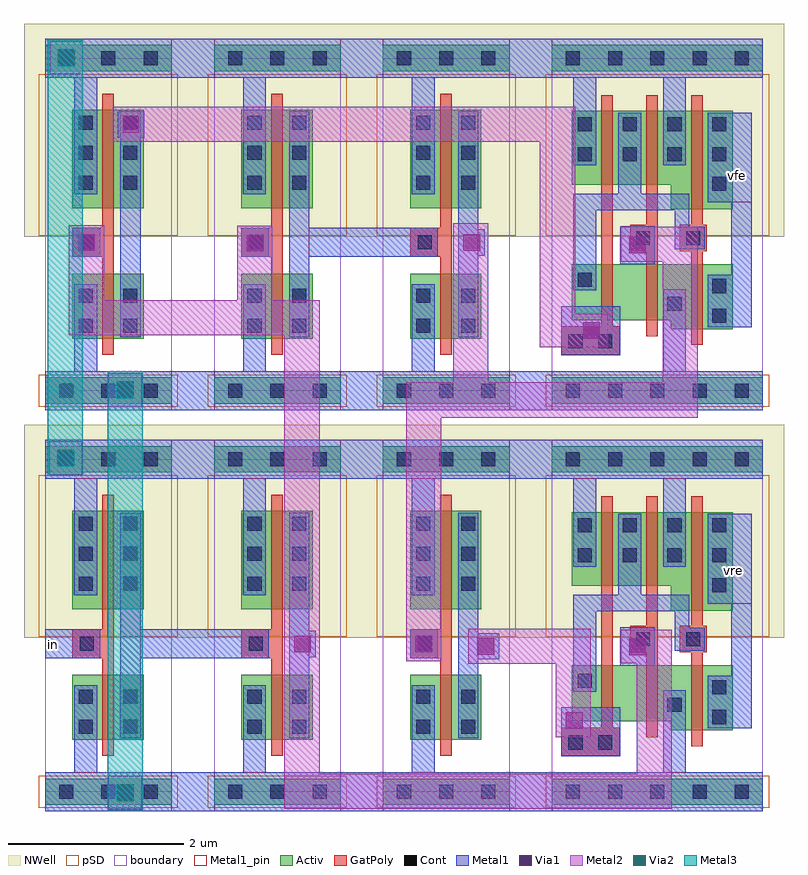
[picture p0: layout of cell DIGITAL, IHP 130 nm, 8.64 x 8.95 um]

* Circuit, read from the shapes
.subckt DIGITAL VDD VSS in vfe vre
XM1 sg13g2_inv_1_0_1/A in VSS VSS sg13_lv_nmos w=0.74u l=0.13u
XM2 sg13g2_and2_1_1_1/A sg13g2_inv_1_0_3/A VSS VSS sg13_lv_nmos w=0.74u l=0.13u
XM3 sg13g2_inv_1_0_3/A sg13g2_inv_1_0_1/A VSS VSS sg13_lv_nmos w=0.74u l=0.13u
XM4 sg13g2_inv_1_0_5/A sg13g2_inv_1_0_3/A VSS VSS sg13_lv_nmos w=0.74u l=0.13u
XM5 sg13g2_and2_1_1_0/A sg13g2_inv_1_0_2/A VSS VSS sg13_lv_nmos w=0.74u l=0.13u
XM6 sg13g2_inv_1_0_2/A sg13g2_inv_1_0_5/A VSS VSS sg13_lv_nmos w=0.74u l=0.13u
XM7 n1 sg13g2_and2_1_1_0/A n2 VSS sg13_lv_nmos w=0.64u l=0.13u
XM8 n3 sg13g2_and2_1_1_1/A n4 VSS sg13_lv_nmos w=0.64u l=0.13u
XM9 VSS sg13g2_inv_1_0_3/A n1 VSS sg13_lv_nmos w=0.64u l=0.13u
XM10 VSS sg13g2_inv_1_0_2/A n3 VSS sg13_lv_nmos w=0.64u l=0.13u
XM11 vre n2 VSS VSS sg13_lv_nmos w=0.74u l=0.13u
XM12 vfe n4 VSS VSS sg13_lv_nmos w=0.74u l=0.13u
XM13 sg13g2_inv_1_0_1/A in VDD VDD sg13_lv_pmos w=1.12u l=0.13u
XM14 sg13g2_and2_1_1_1/A sg13g2_inv_1_0_3/A VDD VDD sg13_lv_pmos w=1.12u l=0.13u
XM15 sg13g2_inv_1_0_3/A sg13g2_inv_1_0_1/A VDD VDD sg13_lv_pmos w=1.12u l=0.13u
XM16 sg13g2_inv_1_0_5/A sg13g2_inv_1_0_3/A VDD VDD sg13_lv_pmos w=1.12u l=0.13u
XM17 sg13g2_and2_1_1_0/A sg13g2_inv_1_0_2/A VDD VDD sg13_lv_pmos w=1.12u l=0.13u
XM18 sg13g2_inv_1_0_2/A sg13g2_inv_1_0_5/A VDD VDD sg13_lv_pmos w=1.12u l=0.13u
XM19 n2 sg13g2_and2_1_1_0/A VDD VDD sg13_lv_pmos w=0.84u l=0.13u
XM20 n4 sg13g2_and2_1_1_1/A VDD VDD sg13_lv_pmos w=0.84u l=0.13u
XM21 VDD sg13g2_inv_1_0_3/A n2 VDD sg13_lv_pmos w=0.84u l=0.13u
XM22 VDD sg13g2_inv_1_0_2/A n4 VDD sg13_lv_pmos w=0.84u l=0.13u
XM23 vre n2 VDD VDD sg13_lv_pmos w=1.12u l=0.13u
XM24 vfe n4 VDD VDD sg13_lv_pmos w=1.12u l=0.13u
.ends

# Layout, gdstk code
from math import pi, radians
import gdstk
lib = gdstk.Library(unit=1e-6, precision=1e-09)
def R(c, l, rs):  # rectangles x0, y0, x1, y1
    for r in rs: c.add(gdstk.rectangle(r[:2], r[2:], *l))
def A(c, l, x, y, w, h, nx, ny, dx, dy):  # array of equal rectangles
    R(c, l, [(x+i*dx, y+j*dy, x+i*dx+w, y+j*dy+h) for i in range(nx) for j in range(ny)])
def P(c, l, *ps):  # polygons
    for p in ps: c.add(gdstk.Polygon(p, *l))
Activ = (1, 0)
GatPoly = (5, 0)
Cont = (6, 0)
Metal1 = (8, 0)
Metal1_pin = (8, 2)
Metal2 = (10, 0)
pSD = (14, 0)
Via1 = (19, 0)
Via2 = (29, 0)
Metal3 = (30, 0)
NWell = (31, 0)
boundary = (189, 4)

sg13g2_inv_1 = lib.new_cell('sg13g2_inv_1')
R(sg13g2_inv_1, Activ, [(0,-0.15,1.44,0.15), (0.31,0.59,1.12,1.33), (0.31,2.075,1.12,3.195), (0,3.63,1.44,3.93)])
P(sg13g2_inv_1, GatPoly, [(0.65,0.41),(0.65,1.52),(0.31,1.52),(0.31,1.85),(0.65,1.85),(0.65,3.375),(0.78,3.375),(0.78,0.41)])
A(sg13g2_inv_1, Cont, 0.38, 2.285, 0.16, 0.16, 1, 3, 0, 0.34)
A(sg13g2_inv_1, Cont, 0.89, 2.285, 0.16, 0.16, 1, 3, 0, 0.34)
R(sg13g2_inv_1, Cont, [(0.16,-0.08,0.32,0.08), (0.16,-0.08,0.32,0.08), (0.64,-0.08,0.8,0.08), (0.64,-0.08,0.8,0.08), (1.12,-0.08,1.28,0.08), (1.12,-0.08,1.28,0.08), (0.38,0.66,0.54,0.82), (0.89,0.66,1.05,0.82), (0.38,1,0.54,1.16), (0.89,1,1.05,1.16), (0.395,1.605,0.555,1.765), (0.16,3.7,0.32,3.86), (0.16,3.7,0.32,3.86), (0.64,3.7,0.8,3.86), (0.64,3.7,0.8,3.86), (1.12,3.7,1.28,3.86), (1.12,3.7,1.28,3.86)])
R(sg13g2_inv_1, Metal1, [(0.855,0.61,1.085,3.175), (0.31,1.52,0.625,1.85)])
P(sg13g2_inv_1, Metal1, [(0.33,2.235),(0.33,3.56),(0,3.56),(0,4),(1.44,4),(1.44,3.56),(0.59,3.56),(0.59,2.235)],
  [(0,-0.22),(0,0.22),(0.33,0.22),(0.33,1.21),(0.59,1.21),(0.59,0.22),(1.44,0.22),(1.44,-0.22)])
R(sg13g2_inv_1, Metal1_pin, [(0,-0.22,1.44,0.22), (0.855,0.61,1.085,3.175), (0.31,1.52,0.625,1.85), (0,3.56,1.44,4)])
R(sg13g2_inv_1, pSD, [(-0.07,-0.18,1.51,0.18), (-0.07,1.76,1.51,3.6)])
R(sg13g2_inv_1, NWell, [(-0.24,1.75,1.68,4.17)])
R(sg13g2_inv_1, boundary, [(0,0,1.44,3.78)])
sg13g2_inv_1.add(gdstk.Label('Y', (0.98,1.69), layer=8, texttype=25))
sg13g2_inv_1.add(gdstk.Label('A', (0.48,1.68), layer=8, texttype=25))
sg13g2_inv_1.add(gdstk.Label('VSS', (0.72,-0.02), layer=8, texttype=25))
sg13g2_inv_1.add(gdstk.Label('VDD', (0.705,3.78), layer=8, texttype=25))

sg13g2_and2_1 = lib.new_cell('sg13g2_and2_1')
R(sg13g2_and2_1, Activ, [(0,-0.15,2.4,0.15), (0,3.63,2.4,3.93)])
P(sg13g2_and2_1, Activ, [(1.355,0.7),(1.355,0.8),(0.225,0.8),(0.225,1.44),(2.055,1.44),(2.055,0.7)],
  [(1.355,2.06),(1.355,2.34),(0.225,2.34),(0.225,3.18),(2.055,3.18),(2.055,2.06)])
P(sg13g2_and2_1, GatPoly, [(1.585,0.52),(1.585,1.585),(1.455,1.585),(1.455,1.885),(1.585,1.885),(1.585,3.36),(1.715,3.36),(1.715,1.885),(1.76,1.885),(1.76,1.585),(1.715,1.585),(1.715,0.52)],
  [(0.105,0.41),(0.105,0.73),(0.565,0.73),(0.565,3.36),(0.695,3.36),(0.695,0.73),(0.775,0.73),(0.775,0.41)],
  [(1.075,0.62),(1.075,1.585),(0.89,1.585),(0.89,1.885),(1.075,1.885),(1.075,3.36),(1.205,3.36),(1.205,0.62)])
A(sg13g2_and2_1, Cont, 0.16, -0.08, 0.16, 0.16, 5, 1, 0.48, 0)
A(sg13g2_and2_1, Cont, 0.295, 2.61, 0.16, 0.16, 4, 2, 0.51, 0.34)
R(sg13g2_and2_1, Cont, [(0.19,0.48,0.35,0.64), (0.53,0.48,0.69,0.64), (1.825,0.77,1.985,0.93), (1.315,0.91,1.475,1.07), (1.825,1.11,1.985,1.27), (0.295,1.18,0.455,1.34), (0.96,1.655,1.12,1.815), (1.53,1.655,1.69,1.815), (1.825,2.27,1.985,2.43), (0.16,3.7,0.32,3.86), (0.16,3.7,0.32,3.86), (0.16,3.7,0.32,3.86), (0.64,3.7,0.8,3.86), (0.64,3.7,0.8,3.86), (1.12,3.7,1.28,3.86), (1.12,3.7,1.28,3.86), (1.6,3.7,1.76,3.86), (1.6,3.7,1.76,3.86), (2.08,3.7,2.24,3.86), (2.08,3.7,2.24,3.86)])
R(sg13g2_and2_1, Metal1, [(0.105,0.405,0.78,0.96), (0.78,1.435,1.17,1.87)])
P(sg13g2_and2_1, Metal1, [(0.245,1.14),(0.245,2.24),(0.755,2.24),(0.755,3.16),(1.015,3.16),(1.015,2.24),(1.56,2.24),(1.56,1.865),(1.74,1.865),(1.74,1.605),(1.4,1.605),(1.4,2.05),(0.505,2.05),(0.505,1.14)],
  [(1.775,0.72),(1.775,1.32),(2.04,1.32),(2.04,2.14),(1.775,2.14),(1.775,3.16),(2.275,3.16),(2.275,0.72)],
  [(0.245,2.56),(0.245,3.56),(0,3.56),(0,4),(2.4,4),(2.4,3.56),(1.525,3.56),(1.525,2.56),(1.265,2.56),(1.265,3.56),(0.505,3.56),(0.505,2.56)],
  [(0,-0.22),(0,0.22),(1.265,0.22),(1.265,1.155),(1.525,1.155),(1.525,0.22),(2.4,0.22),(2.4,-0.22)])
R(sg13g2_and2_1, Metal1_pin, [(0,-0.22,2.4,0.22), (0.105,0.405,0.78,0.96), (0.78,1.435,1.17,1.87), (1.775,2.14,2.275,3.16), (0,3.56,2.4,4)])
R(sg13g2_and2_1, pSD, [(-0.07,-0.18,2.47,0.18), (-0.07,1.76,0.55,3.6), (-0.07,1.76,2.47,3.6)])
R(sg13g2_and2_1, NWell, [(-0.24,1.75,2.64,4.17)])
R(sg13g2_and2_1, boundary, [(0,0,2.4,3.78)])
sg13g2_and2_1.add(gdstk.Label('X', (1.995,2.68), layer=8, texttype=25))
sg13g2_and2_1.add(gdstk.Label('VSS', (1.18,0), layer=8, texttype=25))
sg13g2_and2_1.add(gdstk.Label('VDD', (1.275,3.78), layer=8, texttype=25))
sg13g2_and2_1.add(gdstk.Label('B', (0.98,1.655), layer=8, texttype=25))
sg13g2_and2_1.add(gdstk.Label('A', (0.465,0.745), layer=8, texttype=25))

m1_m3 = lib.new_cell('M1_M3')
R(m1_m3, Metal1, [(-0.15,-0.15,0.15,0.15)])
R(m1_m3, Metal2, [(-0.19,-0.19,0.19,0.19)])
R(m1_m3, Via1, [(-0.095,-0.095,0.095,0.095)])
R(m1_m3, Via2, [(-0.095,-0.095,0.095,0.095)])
R(m1_m3, Metal3, [(-0.19,-0.19,0.19,0.19)])

m1_m2 = lib.new_cell('M1_M2')
R(m1_m2, Metal1, [(-0.15,-0.15,0.15,0.15)])
R(m1_m2, Metal2, [(-0.19,-0.19,0.19,0.19)])
R(m1_m2, Via1, [(-0.095,-0.095,0.095,0.095)])

digital = lib.new_cell('DIGITAL')
R(digital, Metal1, [(0.14,-1.32,5.235,-0.88), (-0.945,0.42,-0.605,0.75), (-0.005,0.42,1.6,0.75), (0.375,2.46,5.71,2.9), (0.065,3.24,5.57,3.68), (1.97,4.98,3.275,5.31), (0.205,7.02,5.71,7.46)])
digital.add(gdstk.FlexPath([(1.975,0.565),(1.975,4.29),(-0.475,4.29),(-0.475,5.14)], 0.4, ends="extended", simple_path=True, layer=10, datatype=0))  # Metal2
digital.add(gdstk.FlexPath([(1.44,4.29),(1.44,5.135)], 0.4, ends="extended", simple_path=True, layer=10, datatype=0))  # Metal2
digital.add(gdstk.FlexPath([(4.065,0.555),(5.06,0.555),(5.06,-0.28),(5.06,-0.28),(5.06,-0.28)], 0.4, ends="extended", simple_path=True, layer=10, datatype=0))  # Metal2
digital.add(gdstk.FlexPath([(0.025,6.49),(4.88,6.49),(4.88,4.155)], 0.4, ends="extended", simple_path=True, layer=10, datatype=0))  # Metal2
digital.add(gdstk.FlexPath([(3.895,5.165),(3.895,3.355),(3.36,3.355),(3.36,0.585),(3.36,0.585),(3.36,0.585)], 0.4, ends="extended", simple_path=True, layer=10, datatype=0))  # Metal2
digital.add(gdstk.FlexPath([(3.865,3.355),(6.275,3.355),(6.275,5.125),(5.8,5.125)], 0.4, ends="extended", simple_path=True, layer=10, datatype=0))  # Metal2
digital.add(gdstk.FlexPath([(1.975,0.585),(1.975,-1.095),(5.98,-1.095),(5.98,0.54)], 0.4, ends="extended", simple_path=True, layer=10, datatype=0))  # Metal2
digital.add(gdstk.FlexPath([(-0.715,7.25),(-0.715,2.69),(-0.715,2.69)], 0.4, ends="extended", simple_path=True, layer=30, datatype=0))  # Metal3
digital.add(gdstk.FlexPath([(-0.035,3.48),(-0.035,-1.11)], 0.4, ends="extended", simple_path=True, layer=30, datatype=0))  # Metal3
r = gdstk.Reference(sg13g2_inv_1, (-0.945,-1.1)); r.repetition = gdstk.Repetition(3, 2, v1=(1.92,0), v2=(0,4.56)); digital.add(r)
r = gdstk.Reference(sg13g2_and2_1, (4.815,-1.1)); r.repetition = gdstk.Repetition(1, 2, v1=(0,0), v2=(0,4.56)); digital.add(r)
digital.add(gdstk.Reference(m1_m3, (-0.705,7.245), rotation=pi/2))
digital.add(gdstk.Reference(m1_m3, (-0.71,2.695), rotation=pi/2))
digital.add(gdstk.Reference(m1_m3, (-0.035,3.47), rotation=pi/2))
digital.add(gdstk.Reference(m1_m3, (-0.035,-1.11), rotation=pi/2))
digital.add(gdstk.Reference(m1_m2, (1.98,0.58), rotation=pi/2))
digital.add(gdstk.Reference(m1_m2, (-0.475,5.145), rotation=pi/2))
digital.add(gdstk.Reference(m1_m2, (1.445,5.14), rotation=pi/2))
digital.add(gdstk.Reference(m1_m2, (5.07,-0.29), rotation=pi/2))
digital.add(gdstk.Reference(m1_m2, (5.79,5.115), rotation=pi/2))
digital.add(gdstk.Reference(m1_m2, (0.03,6.485), rotation=pi/2))
digital.add(gdstk.Reference(m1_m2, (5.265,4.145), rotation=pi/2))
digital.add(gdstk.Reference(m1_m2, (3.905,5.145), rotation=pi/2))
digital.add(gdstk.Reference(m1_m2, (3.36,0.58), rotation=pi/2))
digital.add(gdstk.Reference(m1_m2, (4.065,0.555), rotation=pi/2))
digital.add(gdstk.Reference(m1_m2, (5.79,0.55), rotation=pi/2))
digital.add(gdstk.Label('vfe', (6.92,5.905), layer=8, texttype=25))
digital.add(gdstk.Label('vre', (6.88,1.41), layer=8, texttype=25))
digital.add(gdstk.Label('in', (-0.845,0.58), layer=8, texttype=25))

lib.write_gds('DIGITAL.gds')
